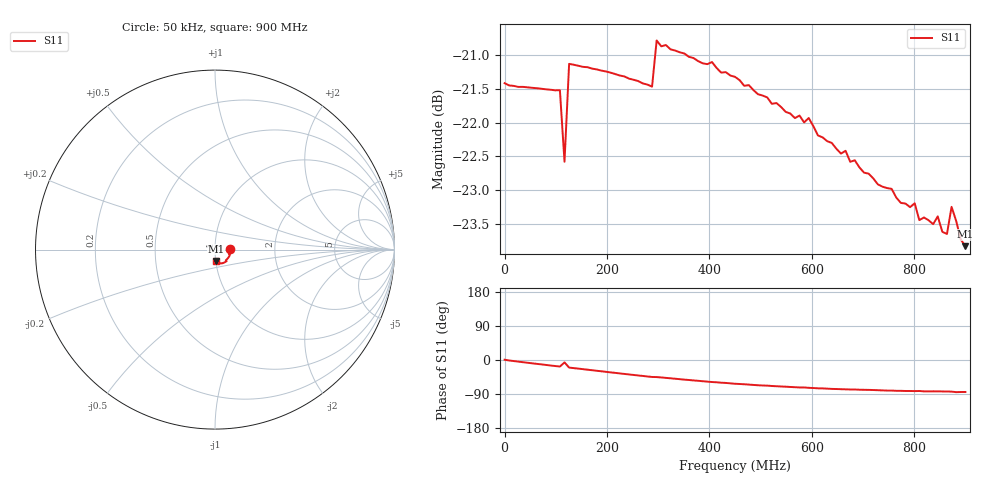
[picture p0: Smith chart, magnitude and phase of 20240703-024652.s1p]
# HZ S RI R 50
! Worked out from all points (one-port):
!   101 points, 50 kHz to 900 MHz, reference 50 ohm
!   lowest |S11| = -23.8 dB at 900 MHz (marker M1), VSWR 1.14, Z = 50.2 - j6.46 ohm
!   |S11| at or under -10 dB: start of sweep to end of sweep
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50000  0.085 0.00104
1.08044e8  0.0801 -0.0251
1.170435e8  0.0739 -0.00824
1.26043e8  0.0825 -0.03
2.250375e8  0.0702 -0.0498
2.88034e8  0.06 -0.0595
2.970335e8  0.0646 -0.0647
3.42031e8  0.0569 -0.0692
4.050275e8  0.0466 -0.0748
4.230265e8  0.0434 -0.0748
4.50025e8  0.0394 -0.0763
5.670185e8  0.025 -0.0761
5.94017e8  0.0228 -0.0767
6.12016e8  0.0205 -0.075
6.570135e8  0.0169 -0.0734
6.66013e8  0.0165 -0.0739
6.750125e8  0.0157 -0.0726
6.84012e8  0.0157 -0.0728
7.92006e8  0.00981 -0.0681
8.010055e8  0.00955 -0.0686
8.10005e8  0.00958 -0.0666
8.370035e8  0.00857 -0.0663
8.46003e8  0.00859 -0.0672
8.550025e8  0.00805 -0.0654
8.64002e8  0.00792 -0.0652
8.730015e8  0.00789 -0.0684
8.910005e8  0.00627 -0.0648
9e8  0.0063 -0.064
